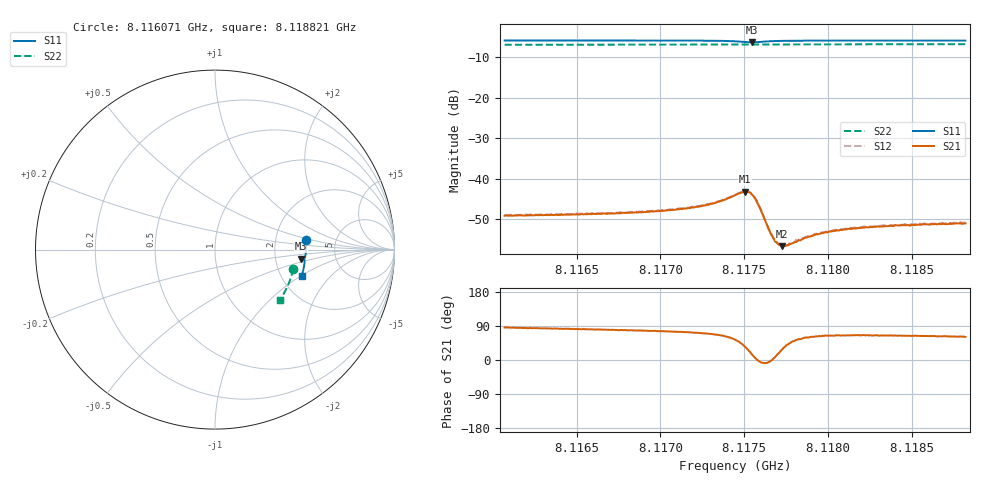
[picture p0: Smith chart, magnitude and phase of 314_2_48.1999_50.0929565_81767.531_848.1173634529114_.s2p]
#  HZ  S  RI  R  50.00
! Rohde & Schwarz Vector Network Analyzer
! Rohde-Schwarz,ZNB20-2Port,1311601062101988,3.16
! Created: UTC 3/20/2024, 11:50:06 AM
! freq[Hz]  re:S11  im:S11  re:S21  im:S21  re:S12  im:S12  re:S22  im:S22
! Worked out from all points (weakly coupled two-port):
!   401 points, 8.116071 GHz to 8.118821 GHz, reference 50 ohm
!   highest |S21| = -43.17 dB at 8.117508 GHz (marker M1); lowest = -56.6 dB at 8.117728 GHz (marker M2)
!   lowest |S11| = -6.4 dB at 8.117549 GHz (marker M3), VSWR 2.85, Z = 140 - j18.6 ohm
!   |S11| at or under -10 dB: nowhere
!   |S22| runs from -7.0 to -6.8 dB; largest |S21 - S12| = 0.00016
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8.1160707e9  0.5046 0.0529  0.000266 0.00349  0.00033 0.00357  0.436 -0.1063
8.1165315e9  0.5063 0.0181  0.000579 0.00362  0.000603 0.00367  0.4286 -0.1372
8.1169922e9  0.5054 -0.0174  0.000967 0.00387  0.00105 0.00394  0.4188 -0.1679
8.1172467e9  0.5027 -0.0388  0.0015 0.00435  0.0016 0.00442  0.4125 -0.1846
8.1173429e9  0.4999 -0.0479  0.00209 0.00474  0.00217 0.00478  0.4096 -0.1908
8.1174461e9  0.492 -0.0582  0.00373 0.00504  0.00381 0.00509  0.4066 -0.1975
8.117508e9  0.4817 -0.0588  0.00573 0.00392  0.00589 0.00393  0.4043 -0.2011
8.1175286e9  0.4786 -0.0558  0.00622 0.00283  0.00636 0.0028  0.4037 -0.2022
8.1175492e9  0.4778 -0.0512  0.00617 0.00149  0.0063 0.00145  0.4031 -0.2033
8.117563e9  0.4788 -0.0483  0.00577 0.000719  0.00589 0.000641  0.4029 -0.2039
8.1175836e9  0.4823 -0.0454  0.00488 -0.000121  0.00497 -0.000204  0.4026 -0.2052
8.1176455e9  0.4928 -0.0477  0.00241 -0.000238  0.00247 -0.000297  0.4013 -0.2091
8.117673e9  0.4954 -0.0508  0.00187 7.44e-05  0.00192 6.03e-05  0.4005 -0.2109
8.1177005e9  0.497 -0.0542  0.00153 0.000423  0.00157 0.000431  0.3997 -0.2128
8.117728e9  0.498 -0.0572  0.00131 0.000685  0.00132 0.000693  0.399 -0.2143
8.1177624e9  0.4986 -0.0611  0.00114 0.001  0.00116 0.000967  0.3978 -0.2168
8.1178174e9  0.4989 -0.0666  0.00102 0.00136  0.00106 0.00139  0.3962 -0.2203
8.1179068e9  0.4986 -0.0749  0.000941 0.00173  0.000959 0.00175  0.3932 -0.2259
8.1179756e9  0.498 -0.0807  0.000966 0.00193  0.000952 0.00197  0.3912 -0.2301
8.1180856e9  0.4967 -0.0897  0.000993 0.00211  0.00102 0.00216  0.3875 -0.2369
8.1183676e9  0.4923 -0.1112  0.00113 0.00236  0.00116 0.0024  0.3775 -0.254
8.1188214e9  0.4835 -0.1444  0.00137 0.00247  0.00138 0.00252  0.3597 -0.2807
